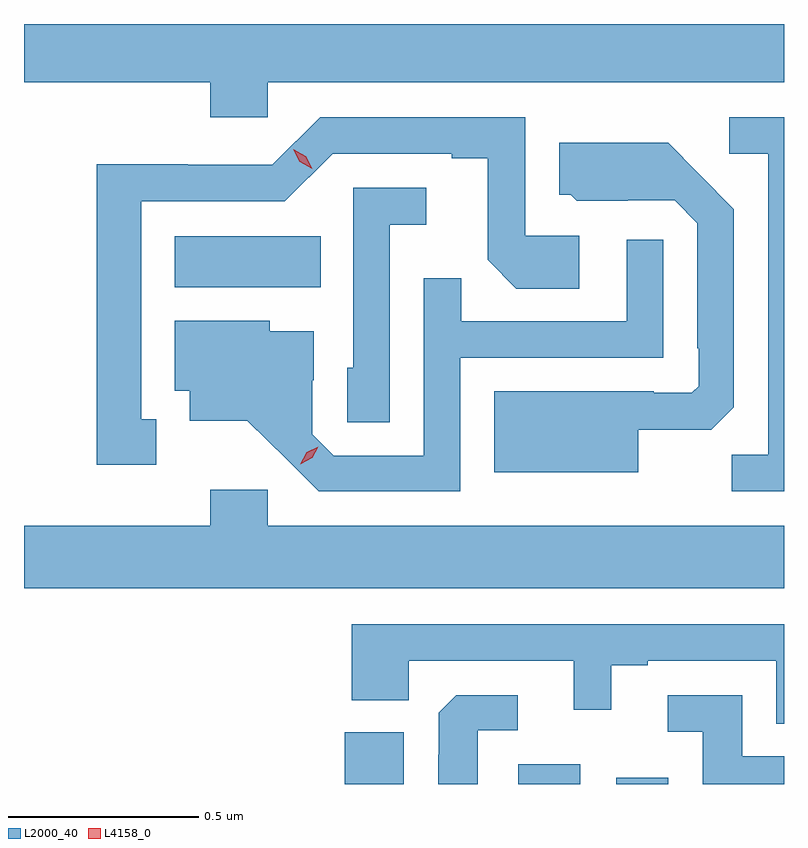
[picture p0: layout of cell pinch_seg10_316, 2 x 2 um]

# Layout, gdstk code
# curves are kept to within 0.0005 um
import gdstk
lib = gdstk.Library(unit=1e-6, precision=1e-09)
def R(c, l, rs):  # rectangles x0, y0, x1, y1
    for r in rs: c.add(gdstk.rectangle(r[:2], r[2:], *l))
def P(c, l, *ps):  # polygons
    for p in ps: c.add(gdstk.Polygon(p, *l))
L2000_40 = (2000, 40)
L4158_0 = (4158, 0)

pinch_seg10_316 = lib.new_cell('pinch_seg10_316')
R(pinch_seg10_316, L2000_40, [(417.983,1294.473,418.138,1294.609), (418.439,1294.473,418.603,1294.525), (418.697,1294.473,418.834,1294.489), (417.536,1295.78,417.92,1295.914)])
P(pinch_seg10_316, L2000_40, [(417.78,1296.32),(419.139,1296.32),(419.139,1296.473),(417.139,1296.473),(417.139,1296.32),(417.629,1296.32),(417.629,1296.227),(417.78,1296.227)],
  [(419.139,1296.228),(418.995,1296.228),(418.995,1296.132),(419.097,1296.132),(419.097,1295.339),(419.002,1295.339),(419.002,1295.244),(419.139,1295.244)],
  [(417.487,1295.433),(417.448,1295.433),(417.448,1296.006),(417.825,1296.006),(417.951,1296.132),(418.265,1296.132),(418.265,1296.12),(418.359,1296.12),(418.359,1295.852),(418.435,1295.776),(418.6,1295.776),(418.6,1295.916),(418.458,1295.916),(418.458,1296.228),(417.918,1296.228),(417.792,1296.102),(417.57,1296.102),(417.57,1296.104),(417.33,1296.104),(417.33,1295.313),(417.487,1295.313)],
  [(418.756,1295.405),(418.948,1295.405),(419.007,1295.464),(419.007,1295.986),(418.835,1296.16),(418.547,1296.16),(418.547,1296.024),(418.578,1296.024),(418.594,1296.008),(418.728,1296.008),(418.728,1296.009),(418.851,1296.009),(418.911,1295.949),(418.911,1295.62),(418.914,1295.62),(418.914,1295.52),(418.896,1295.502),(418.796,1295.502),(418.796,1295.506),(418.376,1295.506),(418.376,1295.294),(418.756,1295.294)],
  [(418.101,1295.945),(418.198,1295.945),(418.198,1296.042),(418.005,1296.042),(418.005,1295.568),(417.99,1295.568),(417.99,1295.425),(418.101,1295.425)],
  [(418.287,1295.595),(418.821,1295.595),(418.821,1295.905),(418.725,1295.905),(418.725,1295.691),(418.289,1295.691),(418.289,1295.804),(418.191,1295.804),(418.191,1295.337),(417.954,1295.337),(417.897,1295.394),(417.897,1295.536),(417.901,1295.536),(417.901,1295.665),(417.786,1295.665),(417.786,1295.692),(417.536,1295.692),(417.536,1295.508),(417.575,1295.508),(417.575,1295.429),(417.727,1295.429),(417.914,1295.244),(418.287,1295.244)],
  [(419.139,1295.152),(417.78,1295.152),(417.78,1295.248),(417.629,1295.248),(417.629,1295.152),(417.139,1295.152),(417.139,1294.988),(419.139,1294.988)],
  [(419.139,1294.893),(418.001,1294.893),(418.001,1294.694),(418.152,1294.694),(418.152,1294.797),(418.586,1294.797),(418.586,1294.668),(418.684,1294.668),(418.684,1294.785),(418.78,1294.785),(418.78,1294.797),(419.118,1294.797),(419.118,1294.631),(419.139,1294.631)],
  [(418.333,1294.614),(418.438,1294.614),(418.438,1294.707),(418.276,1294.707),(418.23,1294.661),(418.23,1294.55),(418.229,1294.55),(418.229,1294.473),(418.333,1294.473)],
  [(419.139,1294.546),(419.029,1294.546),(419.029,1294.707),(418.833,1294.707),(418.833,1294.611),(418.925,1294.611),(418.925,1294.473),(419.139,1294.473)])
P(pinch_seg10_316, L4158_0, [(417.866,1295.315),(417.866,1295.315),(417.883,1295.346),(417.913,1295.361),(417.913,1295.361),(417.913,1295.361),(417.897,1295.331),(417.866,1295.315)],
  [(417.897,1296.092),(417.865,1296.11),(417.848,1296.143),(417.848,1296.143),(417.848,1296.143),(417.88,1296.125),(417.898,1296.092),(417.898,1296.092)])

lib.write_gds('pinch_seg10_316.gds')
